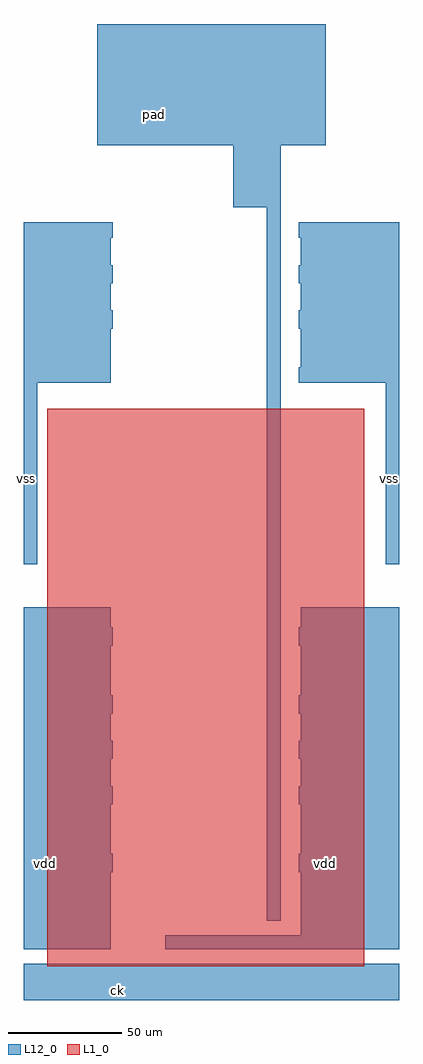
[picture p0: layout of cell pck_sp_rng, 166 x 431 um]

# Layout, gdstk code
import gdstk
lib = gdstk.Library(unit=1e-6, precision=2.5e-08)
def R(c, l, rs):  # rectangles x0, y0, x1, y1
    for r in rs: c.add(gdstk.rectangle(r[:2], r[2:], *l))
def A(c, l, x, y, w, h, nx, ny, dx, dy):  # array of equal rectangles
    R(c, l, [(x+i*dx, y+j*dy, x+i*dx+w, y+j*dy+h) for i in range(nx) for j in range(ny)])
L1_0 = (1, 0)
L12_0 = (12, 0)

pck_sp_rng = lib.new_cell('pck_sp_rng')
R(pck_sp_rng, L1_0, [(7.5,24.5,147.5,270.5)])
A(pck_sp_rng, L12_0, -3, 96, 39.5, 8, 1, 3, 0, 20)
A(pck_sp_rng, L12_0, 118.5, 96, 44.5, 8, 1, 3, 0, 20)
R(pck_sp_rng, L12_0, [(-3,9.5,163,25.5), (-3,32,35.5,183), (59.5,32,163,38), (119.5,32,163,183), (104.5,44.5,110.5,440.5), (-3,66,36.5,74), (118.5,66,163,74), (-3,166,36.5,174), (118.5,166,163,174), (-3,202,3,353), (157,202,163,353), (-3,282,35.5,353), (118.5,282,163,289), (119.5,282,163,353), (-3,306,36.5,314), (118.5,306,163,314), (-3,326,36.5,334), (118.5,326,163,334), (-3,346,36.5,353), (118.5,346,163,353), (89.5,359.5,110.5,440.5), (29.5,387,130.5,440.5)])
pck_sp_rng.add(gdstk.Label('vss', (158.5,239.75), layer=60, texttype=0))
pck_sp_rng.add(gdstk.Label('vdd', (130.375,69.75), layer=60, texttype=0))
pck_sp_rng.add(gdstk.Label('vss', (-1.5,239.75), layer=60, texttype=0))
pck_sp_rng.add(gdstk.Label('vdd', (6.625,69.75), layer=60, texttype=0))
pck_sp_rng.add(gdstk.Label('ck', (38.5,13.5), layer=60, texttype=0))
pck_sp_rng.add(gdstk.Label('pad', (54.75,400.375), layer=60, texttype=0))

lib.write_gds('pck_sp_rng.gds')
